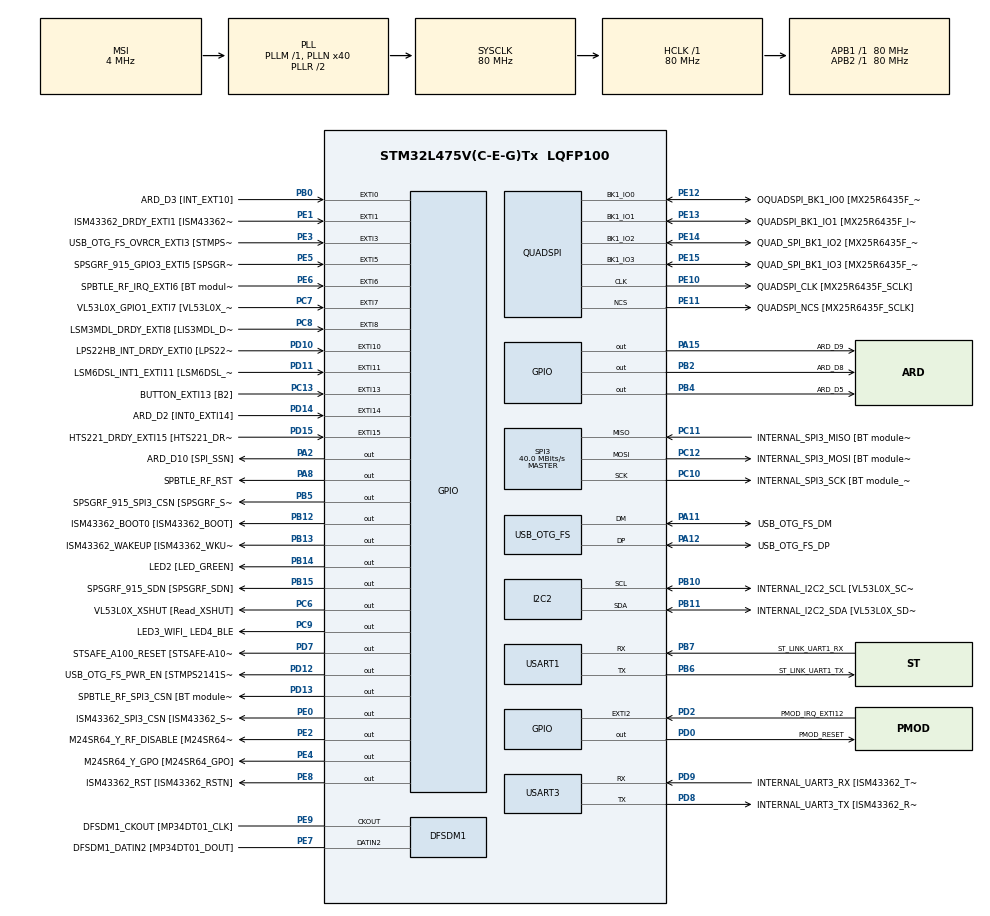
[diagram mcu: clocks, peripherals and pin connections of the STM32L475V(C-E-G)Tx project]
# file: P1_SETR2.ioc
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Mcu.Family=STM32L4
Mcu.Name=STM32L475V(C-E-G)Tx
Mcu.Package=LQFP100
NVIC.EXTI15_10_IRQn=true\:0\:0\:false\:false\:true\:true\:true\:true
NVIC.EXTI9_5_IRQn=true\:0\:0\:false\:false\:true\:true\:true\:true
NVIC.PriorityGroup=NVIC_PRIORITYGROUP_4
PA0.GPIO_Label=ARD_D1 [UART4_TX]
PA0.Signal=UART4_TX
PA1.GPIO_Label=ARD_D0 [UART4_RX]
PA1.Signal=UART4_RX
PA10.GPIO_Label=USB_OTG_FS_ID
PA10.Signal=USB_OTG_FS_ID
PA11.GPIO_Label=USB_OTG_FS_DM
PA11.Mode=Device_Only
PA11.Signal=USB_OTG_FS_DM
PA12.GPIO_Label=USB_OTG_FS_DP
PA12.Mode=Device_Only
PA12.Signal=USB_OTG_FS_DP
PA13\ (JTMS-SWDIO).GPIO_Label=SYS_JTMS_SWDIO
PA13\ (JTMS-SWDIO).Mode=Serial_Wire
PA13\ (JTMS-SWDIO).Signal=SYS_JTMS-SWDIO
PA14\ (JTCK-SWCLK).GPIO_Label=SYS_JTCK_SWCLK
PA14\ (JTCK-SWCLK).Mode=Serial_Wire
PA14\ (JTCK-SWCLK).Signal=SYS_JTCK-SWCLK
PA15\ (JTDI).GPIO_Label=ARD_D9
PA15\ (JTDI).Signal=GPIO_Output
PA2.GPIO_Label=ARD_D10 [SPI_SSN]
PA2.Signal=GPIO_Output
PA3.GPIO_Label=ARD_D4
PA3.Signal=S_TIM2_CH4
PA4.GPIO_Label=ARD_D7
PA4.Signal=ADCx_IN9
PA5.GPIO_Label=ARD_D13 [SPI1_SCK]
PA5.Signal=SPI1_SCK
PA6.GPIO_Label=ARD_D12 [SPI1_MISO]
PA6.Signal=SPI1_MISO
PA7.GPIO_Label=ARD_D11 [SPI1_MOSI]
PA7.Signal=SPI1_MOSI
PA8.GPIO_Label=SPBTLE_RF_RST
PA8.Signal=GPIO_Output
PA9.GPIO_Label=USB_OTG_FS_VBUS [STMPS2141STR_OUT]
PA9.Signal=USB_OTG_FS_VBUS
PB0.GPIO_Label=ARD_D3 [INT_EXT10]
PB0.Signal=GPXTI0
PB1.GPIO_Label=ARD_D6 [ADC1_IN6]
PB1.Signal=ADCx_IN16
PB10.GPIO_Label=INTERNAL_I2C2_SCL [VL53L0X_SCL]
PB10.GPIO_Pu=GPIO_PULLUP
PB10.Mode=I2C
PB10.Signal=I2C2_SCL
PB11.GPIO_Label=INTERNAL_I2C2_SDA [VL53L0X_SDA]
PB11.GPIO_Pu=GPIO_PULLUP
PB11.Mode=I2C
PB11.Signal=I2C2_SDA
PB12.GPIO_Label=ISM43362_BOOT0 [ISM43362_BOOT]
PB12.Signal=GPIO_Output
PB13.GPIO_Label=ISM43362_WAKEUP [ISM43362_WKUP]
PB13.Signal=GPIO_Output
PB14.GPIO_Label=LED2 [LED_GREEN]
PB14.Signal=GPIO_Output
PB15.GPIO_Label=SPSGRF_915_SDN [SPSGRF_SDN]
PB15.Signal=GPIO_Output
PB2.GPIO_Label=ARD_D8
PB2.Signal=GPIO_Output
PB3\ (JTDO-TRACESWO).GPIO_Label=SYS_JTD0_SWO
PB3\ (JTDO-TRACESWO).Signal=SYS_JTDO-SWO
PB4\ (NJTRST).GPIO_Label=ARD_D5
PB4\ (NJTRST).Signal=GPIO_Output
PB5.GPIO_Label=SPSGRF_915_SPI3_CSN [SPSGRF_SPI_CS]
PB5.PinState=GPIO_PIN_SET
PB5.Signal=GPIO_Output
PB6.GPIO_Label=ST_LINK_UART1_TX
PB6.Mode=Asynchronous
PB6.Signal=USART1_TX
PB7.GPIO_Label=ST_LINK_UART1_RX
PB7.Mode=Asynchronous
PB7.Signal=USART1_RX
PB8.GPIO_Label=ARD_D15 [I2C1_SCL]
PB8.Signal=I2C1_SCL
PB9.GPIO_Label=ARD_D14 [I2C1_SDA]
PB9.Signal=I2C1_SDA
PC0.GPIO_Label=ARD_A5 [ADC]
PC0.Signal=ADCx_IN1
PC1.GPIO_Label=ARD_A4 [ADC]
PC1.Signal=ADCx_IN2
PC10.GPIO_Label=INTERNAL_SPI3_SCK [BT module_SPI_SCLK] [ISM43362_SCK]
PC10.Mode=Full_Duplex_Master
PC10.Signal=SPI3_SCK
PC11.GPIO_Label=INTERNAL_SPI3_MISO [BT module_SPI_MISO] [ISM43362_MISO]
PC11.Mode=Full_Duplex_Master
PC11.Signal=SPI3_MISO
PC12.GPIO_Label=INTERNAL_SPI3_MOSI [BT module_SPI_MOSI] [ISM43362_MOSI]
PC12.Mode=Full_Duplex_Master
PC12.Signal=SPI3_MOSI
PC13.GPIO_Label=BUTTON_EXTI13 [B2]
PC13.GPIO_ModeDefaultEXTI=GPIO_MODE_IT_FALLING
PC13.Signal=GPXTI13
PC14-OSC32_IN\ (PC14).Mode=LSE-External-Oscillator
PC14-OSC32_IN\ (PC14).Signal=RCC_OSC32_IN
PC15-OSC32_OUT\ (PC15).Mode=LSE-External-Oscillator
PC15-OSC32_OUT\ (PC15).Signal=RCC_OSC32_OUT
PC2.GPIO_Label=ARD_A3 [ADC]
PC2.Signal=ADCx_IN3
PC3.GPIO_Label=ARD_A2 [ADC]
PC3.Signal=ADCx_IN4
PC4.GPIO_Label=ARD_A1 [ADC]
PC4.Signal=ADCx_IN13
PC5.GPIO_Label=ARD_A0 [ADC]
PC5.Signal=ADCx_IN14
PC6.GPIO_Label=VL53L0X_XSHUT [Read_XSHUT]
PC6.Signal=GPIO_Output
PC7.GPIO_Label=VL53L0X_GPIO1_EXTI7 [VL53L0X_GPIO1]
PC7.Signal=GPXTI7
PC8.GPIO_Label=LSM3MDL_DRDY_EXTI8 [LIS3MDL_DRDY]
PC8.Signal=GPXTI8
PC9.GPIO_Label=LED3_WIFI_ LED4_BLE
PC9.Signal=GPIO_Output
PD0.GPIO_Label=PMOD_RESET
PD0.Signal=GPIO_Output
PD1.GPIO_Label=PMOD_SPI2_SCK
PD1.Signal=SPI2_SCK
PD10.GPIO_Label=LPS22HB_INT_DRDY_EXTI0 [LPS22HB_INT_DRDY] 
PD10.Signal=GPXTI10
PD11.GPIO_Label=LSM6DSL_INT1_EXTI11 [LSM6DSL_INT1]
PD11.Signal=GPXTI11
PD12.GPIO_Label=USB_OTG_FS_PWR_EN [STMPS2141STR_EN]
PD12.Signal=GPIO_Output
PD13.GPIO_Label=SPBTLE_RF_SPI3_CSN [BT module_SPI_CS]
PD13.PinState=GPIO_PIN_SET
PD13.Signal=GPIO_Output
PD14.GPIO_Label=ARD_D2 [INT0_EXTI14]
PD14.Signal=GPXTI14
PD15.GPIO_Label=HTS221_DRDY_EXTI15 [HTS221_DRDY]
PD15.Signal=GPXTI15
PD2.GPIO_Label=PMOD_IRQ_EXTI12
PD2.Signal=GPXTI2
PD3.GPIO_Label=PMOD_UART2_CTS
PD3.Signal=USART2_CTS
PD4.GPIO_Label=PMOD_UART2_RTS
PD4.Signal=USART2_RTS
PD5.GPIO_Label=PMOD_UART2_TX
PD5.Signal=USART2_TX
PD6.GPIO_Label=PMOD_UART2_RX
PD6.Signal=USART2_RX
PD7.GPIO_Label=STSAFE_A100_RESET [STSAFE-A100_RESET]
PD7.Signal=GPIO_Output
PD8.GPIO_Label=INTERNAL_UART3_TX [ISM43362_RX]
PD8.Mode=Asynchronous
PD8.Signal=USART3_TX
PD9.GPIO_Label=INTERNAL_UART3_RX [ISM43362_TX]
PD9.Mode=Asynchronous
PD9.Signal=USART3_RX
PE0.GPIO_Label=ISM43362_SPI3_CSN [ISM43362_SSN]
PE0.PinState=GPIO_PIN_SET
PE0.Signal=GPIO_Output
PE1.GPIO_Label=ISM43362_DRDY_EXTI1 [ISM43362_DATARDY]
PE1.Signal=GPXTI1
PE10.GPIO_Label=QUADSPI_CLK [MX25R6435F_SCLK]
PE10.Mode=Single Bank
PE10.Signal=QUADSPI_CLK
PE11.GPIO_Label=QUADSPI_NCS [MX25R6435F_SCLK]
PE11.Mode=Single Bank
PE11.Signal=QUADSPI_NCS
PE12.GPIO_Label=OQUADSPI_BK1_IO0 [MX25R6435F_IO0]
PE12.Mode=Single Bank
PE12.Signal=QUADSPI_BK1_IO0
PE13.GPIO_Label=QUADSPI_BK1_IO1 [MX25R6435F_IO1]
PE13.Mode=Single Bank
PE13.Signal=QUADSPI_BK1_IO1
PE14.GPIO_Label=QUAD_SPI_BK1_IO2 [MX25R6435F_IO2]
PE14.Mode=Single Bank
PE14.Signal=QUADSPI_BK1_IO2
PE15.GPIO_Label=QUAD_SPI_BK1_IO3 [MX25R6435F_IO3]
PE15.Mode=Single Bank
PE15.Signal=QUADSPI_BK1_IO3
PE2.GPIO_Label=M24SR64_Y_RF_DISABLE [M24SR64_RFDIS]
PE2.Signal=GPIO_Output
PE3.GPIO_Label=USB_OTG_FS_OVRCR_EXTI3 [STMPS2141STR_FAULT]
PE3.Signal=GPXTI3
PE4.GPIO_Label=M24SR64_Y_GPO [M24SR64_GPO]
PE4.Signal=GPIO_Output
PE5.GPIO_Label=SPSGRF_915_GPIO3_EXTI5 [SPSGRF_GPIO_3]
PE5.Signal=GPXTI5
PE6.GPIO_Label=SPBTLE_RF_IRQ_EXTI6 [BT module_SPI_IRQ]
PE6.Signal=GPXTI6
PE7.GPIO_Label=DFSDM1_DATIN2 [MP34DT01_DOUT]
PE7.Signal=S_DATAIN2DFSDM1
PE8.GPIO_Label=ISM43362_RST [ISM43362_RSTN]
PE8.Signal=GPIO_Output
PE9.GPIO_Label=DFSDM1_CKOUT [MP34DT01_CLK]
PE9.Signal=S_CKOUTDFSDM1
ProjectManager.HeapSize=0x200
ProjectManager.StackSize=0x400
ProjectManager.TargetToolchain=STM32CubeIDE
QUADSPI.ClockPrescaler=2
QUADSPI.FifoThreshold=4
QUADSPI.FlashSize=23
QUADSPI.SampleShifting=QSPI_SAMPLE_SHIFTING_HALFCYCLE
RCC.ADCFreq_Value=48000000
RCC.AHBFreq_Value=80000000
RCC.APB1Freq_Value=80000000
RCC.APB1TimFreq_Value=80000000
RCC.APB2Freq_Value=80000000
RCC.APB2TimFreq_Value=80000000
RCC.CortexFreq_Value=80000000
RCC.HCLKFreq_Value=80000000
RCC.HSE_VALUE=8000000
RCC.HSI_VALUE=16000000
RCC.MSI_VALUE=4000000
RCC.PLLN=40
RCC.PLLSAI1N=24
RCC.SYSCLKFreq_VALUE=80000000
RCC.SYSCLKSource=RCC_SYSCLKSOURCE_PLLCLK
RCC.USBFreq_Value=48000000
RCC.VCOOutputFreq_Value=160000000
SH.ADCx_IN1.0=ADC1_IN1
SH.ADCx_IN13.0=ADC1_IN13
SH.ADCx_IN14.0=ADC1_IN14
SH.ADCx_IN16.0=ADC1_IN16
SH.ADCx_IN2.0=ADC1_IN2
SH.ADCx_IN3.0=ADC1_IN3
SH.ADCx_IN4.0=ADC1_IN4
SH.ADCx_IN9.0=ADC1_IN9
SH.S_CKOUTDFSDM1.0=DFSDM1_CKOUT,CKOUT
SH.S_CKOUTDFSDM1.1=DFSDM1_CKOUT,PDM_SPI_Input_from_ch12_and_Internal_Clock
SH.S_DATAIN2DFSDM1.0=DFSDM1_DATIN2,PDM_SPI_Input_from_ch12_and_Internal_Clock
SH.S_TIM2_CH4.0=TIM2_CH4
SPI3.CalculateBaudRate=40.0 MBits/s
SPI3.Direction=SPI_DIRECTION_2LINES
SPI3.Mode=SPI_MODE_MASTER
SPI3.VirtualType=VM_MASTER
USART1.VirtualMode-Asynchronous=VM_ASYNC
USART3.VirtualMode-Asynchronous=VM_ASYNC
USB_OTG_FS.VirtualMode=Device_Only
board=B-L475E-IOT01A2

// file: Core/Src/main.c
/* USER CODE BEGIN Header */
/**
  ******************************************************************************
  * @file           : main.c
  * @brief          : Main program body
  ******************************************************************************
  * @attention
  *
  * Copyright (c) 2025 STMicroelectronics.
  * All rights reserved.
  *
  * This software is licensed under terms that can be found in the LICENSE file
  * in the root directory of this software component.
  * If no LICENSE file comes with this software, it is provided AS-IS.
  *
  ******************************************************************************
  */
/* USER CODE END Header */
#include "main.h"

/* USER CODE BEGIN Includes */
#include "led_driver.h"
#include "joystick_driver.h"
/* USER CODE END Includes */

DFSDM_Channel_HandleTypeDef hdfsdm1_channel1;

I2C_HandleTypeDef hi2c2;

QSPI_HandleTypeDef hqspi;

SPI_HandleTypeDef hspi3;

UART_HandleTypeDef huart1;
UART_HandleTypeDef huart3;

PCD_HandleTypeDef hpcd_USB_OTG_FS;

void SystemClock_Config(void);
static void MX_GPIO_Init(void);
static void MX_DFSDM1_Init(void);
static void MX_I2C2_Init(void);
static void MX_QUADSPI_Init(void);
static void MX_SPI3_Init(void);
static void MX_USART1_UART_Init(void);
static void MX_USART3_UART_Init(void);
static void MX_USB_OTG_FS_PCD_Init(void);

/* USER CODE BEGIN 0 */
void animation1(void){
    int i;
    for(i = 0; i < 3; i++){
        LED_On(i);
        HAL_Delay(150);
        LED_Off(i);
    }
    for(i = 1; i > 0; i--){
        LED_On(i);
        HAL_Delay(150);
        LED_Off(i);
    }
}

void animation2(void){
    int i, j;
    for(j = 0; j < 5; j++){
        for(i = 0; i < 3; i++)
            LED_On(i);
        HAL_Delay(100);
        for(i = 0; i < 3; i++)
            LED_Off(i);
        HAL_Delay(100);
    }
}

void animation3(void){
    int i;
    for(i = 0; i < 3; i++){
        LED_On(i);
        HAL_Delay(150);
    }
    for(i = 2; i >= 0; i--){
        LED_Off(i);
        HAL_Delay(150);
    }
}

/* USER CODE END 0 */

int main(void)
{

  /* MCU Configuration--------------------------------------------------------*/

  /* Reset of all peripherals, Initializes the Flash interface and the Systick. */
  HAL_Init();

  /* Configure the system clock */
  SystemClock_Config();

  /* Initialize all configured peripherals */
  MX_GPIO_Init();
  MX_DFSDM1_Init();
  MX_I2C2_Init();
  MX_QUADSPI_Init();
  MX_SPI3_Init();
  MX_USART1_UART_Init();
  MX_USART3_UART_Init();
  MX_USB_OTG_FS_PCD_Init();

  /* Infinite loop */
  /* USER CODE BEGIN WHILE */
  while (1)
  {
	switch(ReadJoy())
	{
	case 0:
		// stand-by
		LED_Off(0);
		LED_Off(1);
		LED_Off(2);
		break;
	case 1:
		animation1();
		break;
	case 2:
		animation2();
		break;
	case 3:
		animation3();
		break;
	}
    /* USER CODE END WHILE */

  }
}

void SystemClock_Config(void)
{
  RCC_OscInitTypeDef RCC_OscInitStruct = {0};
  RCC_ClkInitTypeDef RCC_ClkInitStruct = {0};

  /** Configure the main internal regulator output voltage
  */
  if (HAL_PWREx_ControlVoltageScaling(PWR_REGULATOR_VOLTAGE_SCALE1) != HAL_OK)
  {
    Error_Handler();
  }

  /** Configure LSE Drive Capability
  */
  HAL_PWR_EnableBkUpAccess();
  __HAL_RCC_LSEDRIVE_CONFIG(RCC_LSEDRIVE_LOW);

  /** Initializes the RCC Oscillators according to the specified parameters
  * in the RCC_OscInitTypeDef structure.
  */
  RCC_OscInitStruct.OscillatorType = RCC_OSCILLATORTYPE_LSE|RCC_OSCILLATORTYPE_MSI;
  RCC_OscInitStruct.LSEState = RCC_LSE_ON;
  RCC_OscInitStruct.MSIState = RCC_MSI_ON;
  RCC_OscInitStruct.MSICalibrationValue = 0;
  RCC_OscInitStruct.MSIClockRange = RCC_MSIRANGE_6;
  RCC_OscInitStruct.PLL.PLLState = RCC_PLL_ON;
  RCC_OscInitStruct.PLL.PLLSource = RCC_PLLSOURCE_MSI;
  RCC_OscInitStruct.PLL.PLLM = 1;
  RCC_OscInitStruct.PLL.PLLN = 40;
  RCC_OscInitStruct.PLL.PLLP = RCC_PLLP_DIV7;
  RCC_OscInitStruct.PLL.PLLQ = RCC_PLLQ_DIV2;
  RCC_OscInitStruct.PLL.PLLR = RCC_PLLR_DIV2;
  if (HAL_RCC_OscConfig(&RCC_OscInitStruct) != HAL_OK)
  {
    Error_Handler();
  }

  /** Initializes the CPU, AHB and APB buses clocks
  */
  RCC_ClkInitStruct.ClockType = RCC_CLOCKTYPE_HCLK|RCC_CLOCKTYPE_SYSCLK
                              |RCC_CLOCKTYPE_PCLK1|RCC_CLOCKTYPE_PCLK2;
  RCC_ClkInitStruct.SYSCLKSource = RCC_SYSCLKSOURCE_PLLCLK;
  RCC_ClkInitStruct.AHBCLKDivider = RCC_SYSCLK_DIV1;
  RCC_ClkInitStruct.APB1CLKDivider = RCC_HCLK_DIV1;
  RCC_ClkInitStruct.APB2CLKDivider = RCC_HCLK_DIV1;

  if (HAL_RCC_ClockConfig(&RCC_ClkInitStruct, FLASH_LATENCY_4) != HAL_OK)
  {
    Error_Handler();
  }

  /** Enable MSI Auto calibration
  */
  HAL_RCCEx_EnableMSIPLLMode();
}

static void MX_DFSDM1_Init(void)
{

  hdfsdm1_channel1.Instance = DFSDM1_Channel1;
  hdfsdm1_channel1.Init.OutputClock.Activation = ENABLE;
  hdfsdm1_channel1.Init.OutputClock.Selection = DFSDM_CHANNEL_OUTPUT_CLOCK_SYSTEM;
  hdfsdm1_channel1.Init.OutputClock.Divider = 2;
  hdfsdm1_channel1.Init.Input.Multiplexer = DFSDM_CHANNEL_EXTERNAL_INPUTS;
  hdfsdm1_channel1.Init.Input.DataPacking = DFSDM_CHANNEL_STANDARD_MODE;
  hdfsdm1_channel1.Init.Input.Pins = DFSDM_CHANNEL_FOLLOWING_CHANNEL_PINS;
  hdfsdm1_channel1.Init.SerialInterface.Type = DFSDM_CHANNEL_SPI_RISING;
  hdfsdm1_channel1.Init.SerialInterface.SpiClock = DFSDM_CHANNEL_SPI_CLOCK_INTERNAL;
  hdfsdm1_channel1.Init.Awd.FilterOrder = DFSDM_CHANNEL_FASTSINC_ORDER;
  hdfsdm1_channel1.Init.Awd.Oversampling = 1;
  hdfsdm1_channel1.Init.Offset = 0;
  hdfsdm1_channel1.Init.RightBitShift = 0x00;
  if (HAL_DFSDM_ChannelInit(&hdfsdm1_channel1) != HAL_OK)
  {
    Error_Handler();
  }

}

static void MX_I2C2_Init(void)
{

  hi2c2.Instance = I2C2;
  hi2c2.Init.Timing = 0x00000E14;
  hi2c2.Init.OwnAddress1 = 0;
  hi2c2.Init.AddressingMode = I2C_ADDRESSINGMODE_7BIT;
  hi2c2.Init.DualAddressMode = I2C_DUALADDRESS_DISABLE;
  hi2c2.Init.OwnAddress2 = 0;
  hi2c2.Init.OwnAddress2Masks = I2C_OA2_NOMASK;
  hi2c2.Init.GeneralCallMode = I2C_GENERALCALL_DISABLE;
  hi2c2.Init.NoStretchMode = I2C_NOSTRETCH_DISABLE;
  if (HAL_I2C_Init(&hi2c2) != HAL_OK)
  {
    Error_Handler();
  }

  /** Configure Analogue filter
  */
  if (HAL_I2CEx_ConfigAnalogFilter(&hi2c2, I2C_ANALOGFILTER_ENABLE) != HAL_OK)
  {
    Error_Handler();
  }

  /** Configure Digital filter
  */
  if (HAL_I2CEx_ConfigDigitalFilter(&hi2c2, 0) != HAL_OK)
  {
    Error_Handler();
  }

}

static void MX_QUADSPI_Init(void)
{

  /* QUADSPI parameter configuration*/
  hqspi.Instance = QUADSPI;
  hqspi.Init.ClockPrescaler = 2;
  hqspi.Init.FifoThreshold = 4;
  hqspi.Init.SampleShifting = QSPI_SAMPLE_SHIFTING_HALFCYCLE;
  hqspi.Init.FlashSize = 23;
  hqspi.Init.ChipSelectHighTime = QSPI_CS_HIGH_TIME_1_CYCLE;
  hqspi.Init.ClockMode = QSPI_CLOCK_MODE_0;
  if (HAL_QSPI_Init(&hqspi) != HAL_OK)
  {
    Error_Handler();
  }

}

static void MX_SPI3_Init(void)
{

  /* SPI3 parameter configuration*/
  hspi3.Instance = SPI3;
  hspi3.Init.Mode = SPI_MODE_MASTER;
  hspi3.Init.Direction = SPI_DIRECTION_2LINES;
  hspi3.Init.DataSize = SPI_DATASIZE_4BIT;
  hspi3.Init.CLKPolarity = SPI_POLARITY_LOW;
  hspi3.Init.CLKPhase = SPI_PHASE_1EDGE;
  hspi3.Init.NSS = SPI_NSS_SOFT;
  hspi3.Init.BaudRatePrescaler = SPI_BAUDRATEPRESCALER_2;
  hspi3.Init.FirstBit = SPI_FIRSTBIT_MSB;
  hspi3.Init.TIMode = SPI_TIMODE_DISABLE;
  hspi3.Init.CRCCalculation = SPI_CRCCALCULATION_DISABLE;
  hspi3.Init.CRCPolynomial = 7;
  hspi3.Init.CRCLength = SPI_CRC_LENGTH_DATASIZE;
  hspi3.Init.NSSPMode = SPI_NSS_PULSE_ENABLE;
  if (HAL_SPI_Init(&hspi3) != HAL_OK)
  {
    Error_Handler();
  }

}

static void MX_USART1_UART_Init(void)
{

  huart1.Instance = USART1;
  huart1.Init.BaudRate = 115200;
  huart1.Init.WordLength = UART_WORDLENGTH_8B;
  huart1.Init.StopBits = UART_STOPBITS_1;
  huart1.Init.Parity = UART_PARITY_NONE;
  huart1.Init.Mode = UART_MODE_TX_RX;
  huart1.Init.HwFlowCtl = UART_HWCONTROL_NONE;
  huart1.Init.OverSampling = UART_OVERSAMPLING_16;
  huart1.Init.OneBitSampling = UART_ONE_BIT_SAMPLE_DISABLE;
  huart1.AdvancedInit.AdvFeatureInit = UART_ADVFEATURE_NO_INIT;
  if (HAL_UART_Init(&huart1) != HAL_OK)
  {
    Error_Handler();
  }

}

static void MX_USART3_UART_Init(void)
{

  huart3.Instance = USART3;
  huart3.Init.BaudRate = 115200;
  huart3.Init.WordLength = UART_WORDLENGTH_8B;
  huart3.Init.StopBits = UART_STOPBITS_1;
  huart3.Init.Parity = UART_PARITY_NONE;
  huart3.Init.Mode = UART_MODE_TX_RX;
  huart3.Init.HwFlowCtl = UART_HWCONTROL_NONE;
  huart3.Init.OverSampling = UART_OVERSAMPLING_16;
  huart3.Init.OneBitSampling = UART_ONE_BIT_SAMPLE_DISABLE;
  huart3.AdvancedInit.AdvFeatureInit = UART_ADVFEATURE_NO_INIT;
  if (HAL_UART_Init(&huart3) != HAL_OK)
  {
    Error_Handler();
  }

}

static void MX_USB_OTG_FS_PCD_Init(void)
{

  hpcd_USB_OTG_FS.Instance = USB_OTG_FS;
  hpcd_USB_OTG_FS.Init.dev_endpoints = 6;
  hpcd_USB_OTG_FS.Init.speed = PCD_SPEED_FULL;
  hpcd_USB_OTG_FS.Init.phy_itface = PCD_PHY_EMBEDDED;
  hpcd_USB_OTG_FS.Init.Sof_enable = DISABLE;
  hpcd_USB_OTG_FS.Init.low_power_enable = DISABLE;
  hpcd_USB_OTG_FS.Init.lpm_enable = DISABLE;
  hpcd_USB_OTG_FS.Init.battery_charging_enable = DISABLE;
  hpcd_USB_OTG_FS.Init.use_dedicated_ep1 = DISABLE;
  hpcd_USB_OTG_FS.Init.vbus_sensing_enable = DISABLE;
  if (HAL_PCD_Init(&hpcd_USB_OTG_FS) != HAL_OK)
  {
    Error_Handler();
  }

}

static void MX_GPIO_Init(void)
{
  GPIO_InitTypeDef GPIO_InitStruct = {0};

  /* GPIO Ports Clock Enable */
  __HAL_RCC_GPIOE_CLK_ENABLE();
  __HAL_RCC_GPIOC_CLK_ENABLE();
  __HAL_RCC_GPIOA_CLK_ENABLE();
  __HAL_RCC_GPIOB_CLK_ENABLE();
  __HAL_RCC_GPIOD_CLK_ENABLE();

  /*Configure GPIO pin Output Level */
  HAL_GPIO_WritePin(GPIOE, M24SR64_Y_RF_DISABLE_Pin|M24SR64_Y_GPO_Pin|ISM43362_RST_Pin, GPIO_PIN_RESET);

  /*Configure GPIO pin Output Level */
  HAL_GPIO_WritePin(GPIOA, ARD_D10_Pin|SPBTLE_RF_RST_Pin|ARD_D9_Pin, GPIO_PIN_RESET);

  /*Configure GPIO pin Output Level */
  HAL_GPIO_WritePin(GPIOB, ARD_D8_Pin|ISM43362_BOOT0_Pin|ISM43362_WAKEUP_Pin|LED2_Pin
                          |SPSGRF_915_SDN_Pin|ARD_D5_Pin, GPIO_PIN_RESET);

  /*Configure GPIO pin Output Level */
  HAL_GPIO_WritePin(GPIOD, USB_OTG_FS_PWR_EN_Pin|PMOD_RESET_Pin|STSAFE_A100_RESET_Pin, GPIO_PIN_RESET);

  /*Configure GPIO pin Output Level */
  HAL_GPIO_WritePin(SPBTLE_RF_SPI3_CSN_GPIO_Port, SPBTLE_RF_SPI3_CSN_Pin, GPIO_PIN_SET);

  /*Configure GPIO pin Output Level */
  HAL_GPIO_WritePin(GPIOC, VL53L0X_XSHUT_Pin|LED3_WIFI__LED4_BLE_Pin, GPIO_PIN_RESET);

  /*Configure GPIO pin Output Level */
  HAL_GPIO_WritePin(SPSGRF_915_SPI3_CSN_GPIO_Port, SPSGRF_915_SPI3_CSN_Pin, GPIO_PIN_SET);

  /*Configure GPIO pin Output Level */
  HAL_GPIO_WritePin(ISM43362_SPI3_CSN_GPIO_Port, ISM43362_SPI3_CSN_Pin, GPIO_PIN_SET);

  /*Configure GPIO pins : M24SR64_Y_RF_DISABLE_Pin M24SR64_Y_GPO_Pin ISM43362_RST_Pin ISM43362_SPI3_CSN_Pin */
  GPIO_InitStruct.Pin = M24SR64_Y_RF_DISABLE_Pin|M24SR64_Y_GPO_Pin|ISM43362_RST_Pin|ISM43362_SPI3_CSN_Pin;
  GPIO_InitStruct.Mode = GPIO_MODE_OUTPUT_PP;
  GPIO_InitStruct.Pull = GPIO_NOPULL;
  GPIO_InitStruct.Speed = GPIO_SPEED_FREQ_LOW;
  HAL_GPIO_Init(GPIOE, &GPIO_InitStruct);

  /*Configure GPIO pins : USB_OTG_FS_OVRCR_EXTI3_Pin SPSGRF_915_GPIO3_EXTI5_Pin SPBTLE_RF_IRQ_EXTI6_Pin ISM43362_DRDY_EXTI1_Pin */
  GPIO_InitStruct.Pin = USB_OTG_FS_OVRCR_EXTI3_Pin|SPSGRF_915_GPIO3_EXTI5_Pin|SPBTLE_RF_IRQ_EXTI6_Pin|ISM43362_DRDY_EXTI1_Pin;
  GPIO_InitStruct.Mode = GPIO_MODE_IT_RISING;
  GPIO_InitStruct.Pull = GPIO_NOPULL;
  HAL_GPIO_Init(GPIOE, &GPIO_InitStruct);

  /*Configure GPIO pin : BUTTON_EXTI13_Pin */
  GPIO_InitStruct.Pin = BUTTON_EXTI13_Pin;
  GPIO_InitStruct.Mode = GPIO_MODE_IT_FALLING;
  GPIO_InitStruct.Pull = GPIO_NOPULL;
  HAL_GPIO_Init(BUTTON_EXTI13_GPIO_Port, &GPIO_InitStruct);

  /*Configure GPIO pins : ARD_A5_Pin ARD_A4_Pin ARD_A3_Pin ARD_A2_Pin
                           ARD_A1_Pin ARD_A0_Pin */
  GPIO_InitStruct.Pin = ARD_A5_Pin|ARD_A4_Pin|ARD_A3_Pin|ARD_A2_Pin
                          |ARD_A1_Pin|ARD_A0_Pin;
  GPIO_InitStruct.Mode = GPIO_MODE_ANALOG_ADC_CONTROL;
  GPIO_InitStruct.Pull = GPIO_NOPULL;
  HAL_GPIO_Init(GPIOC, &GPIO_InitStruct);

  /*Configure GPIO pins : ARD_D1_Pin ARD_D0_Pin */
  GPIO_InitStruct.Pin = ARD_D1_Pin|ARD_D0_Pin;
  GPIO_InitStruct.Mode = GPIO_MODE_AF_PP;
  GPIO_InitStruct.Pull = GPIO_NOPULL;
  GPIO_InitStruct.Speed = GPIO_SPEED_FREQ_VERY_HIGH;
  GPIO_InitStruct.Alternate = GPIO_AF8_UART4;
  HAL_GPIO_Init(GPIOA, &GPIO_InitStruct);

  /*Configure GPIO pins : ARD_D10_Pin SPBTLE_RF_RST_Pin ARD_D9_Pin */
  GPIO_InitStruct.Pin = ARD_D10_Pin|SPBTLE_RF_RST_Pin|ARD_D9_Pin;
  GPIO_InitStruct.Mode = GPIO_MODE_OUTPUT_PP;
  GPIO_InitStruct.Pull = GPIO_NOPULL;
  GPIO_InitStruct.Speed = GPIO_SPEED_FREQ_LOW;
  HAL_GPIO_Init(GPIOA, &GPIO_InitStruct);

  /*Configure GPIO pin : ARD_D4_Pin */
  GPIO_InitStruct.Pin = ARD_D4_Pin;
  GPIO_InitStruct.Mode = GPIO_MODE_AF_PP;
  GPIO_InitStruct.Pull = GPIO_NOPULL;
  GPIO_InitStruct.Speed = GPIO_SPEED_FREQ_LOW;
  GPIO_InitStruct.Alternate = GPIO_AF1_TIM2;
  HAL_GPIO_Init(ARD_D4_GPIO_Port, &GPIO_InitStruct);

  /*Configure GPIO pin : ARD_D7_Pin */
  GPIO_InitStruct.Pin = ARD_D7_Pin;
  GPIO_InitStruct.Mode = GPIO_MODE_ANALOG_ADC_CONTROL;
  GPIO_InitStruct.Pull = GPIO_NOPULL;
  HAL_GPIO_Init(ARD_D7_GPIO_Port, &GPIO_InitStruct);

  /*Configure GPIO pins : ARD_D13_Pin ARD_D12_Pin ARD_D11_Pin */
  GPIO_InitStruct.Pin = ARD_D13_Pin|ARD_D12_Pin|ARD_D11_Pin;
  GPIO_InitStruct.Mode = GPIO_MODE_AF_PP;
  GPIO_InitStruct.Pull = GPIO_NOPULL;
  GPIO_InitStruct.Speed = GPIO_SPEED_FREQ_VERY_HIGH;
  GPIO_InitStruct.Alternate = GPIO_AF5_SPI1;
  HAL_GPIO_Init(GPIOA, &GPIO_InitStruct);

  /*Configure GPIO pin : ARD_D3_Pin */
  GPIO_InitStruct.Pin = ARD_D3_Pin;
  GPIO_InitStruct.Mode = GPIO_MODE_IT_RISING;
  GPIO_InitStruct.Pull = GPIO_NOPULL;
  HAL_GPIO_Init(ARD_D3_GPIO_Port, &GPIO_InitStruct);

  /*Configure GPIO pin : ARD_D6_Pin */
  GPIO_InitStruct.Pin = ARD_D6_Pin;
  GPIO_InitStruct.Mode = GPIO_MODE_ANALOG_ADC_CONTROL;
  GPIO_InitStruct.Pull = GPIO_NOPULL;
  HAL_GPIO_Init(ARD_D6_GPIO_Port, &GPIO_InitStruct);

  /*Configure GPIO pins : ARD_D8_Pin ISM43362_BOOT0_Pin ISM43362_WAKEUP_Pin LED2_Pin
                           SPSGRF_915_SDN_Pin ARD_D5_Pin SPSGRF_915_SPI3_CSN_Pin */
  GPIO_InitStruct.Pin = ARD_D8_Pin|ISM43362_BOOT0_Pin|ISM43362_WAKEUP_Pin|LED2_Pin
                          |SPSGRF_915_SDN_Pin|ARD_D5_Pin|SPSGRF_915_SPI3_CSN_Pin;
  GPIO_InitStruct.Mode = GPIO_MODE_OUTPUT_PP;
  GPIO_InitStruct.Pull = GPIO_NOPULL;
  GPIO_InitStruct.Speed = GPIO_SPEED_FREQ_LOW;
  HAL_GPIO_Init(GPIOB, &GPIO_InitStruct);

  /*Configure GPIO pins : LPS22HB_INT_DRDY_EXTI0_Pin LSM6DSL_INT1_EXTI11_Pin ARD_D2_Pin HTS221_DRDY_EXTI15_Pin
                           PMOD_IRQ_EXTI12_Pin */
  GPIO_InitStruct.Pin = LPS22HB_INT_DRDY_EXTI0_Pin|LSM6DSL_INT1_EXTI11_Pin|ARD_D2_Pin|HTS221_DRDY_EXTI15_Pin
                          |PMOD_IRQ_EXTI12_Pin;
  GPIO_InitStruct.Mode = GPIO_MODE_IT_RISING;
  GPIO_InitStruct.Pull = GPIO_NOPULL;
  HAL_GPIO_Init(GPIOD, &GPIO_InitStruct);

  /*Configure GPIO pins : USB_OTG_FS_PWR_EN_Pin SPBTLE_RF_SPI3_CSN_Pin PMOD_RESET_Pin STSAFE_A100_RESET_Pin */
  GPIO_InitStruct.Pin = USB_OTG_FS_PWR_EN_Pin|SPBTLE_RF_SPI3_CSN_Pin|PMOD_RESET_Pin|STSAFE_A100_RESET_Pin;
  GPIO_InitStruct.Mode = GPIO_MODE_OUTPUT_PP;
  GPIO_InitStruct.Pull = GPIO_NOPULL;
  GPIO_InitStruct.Speed = GPIO_SPEED_FREQ_LOW;
  HAL_GPIO_Init(GPIOD, &GPIO_InitStruct);

  /*Configure GPIO pins : VL53L0X_XSHUT_Pin LED3_WIFI__LED4_BLE_Pin */
  GPIO_InitStruct.Pin = VL53L0X_XSHUT_Pin|LED3_WIFI__LED4_BLE_Pin;
  GPIO_InitStruct.Mode = GPIO_MODE_OUTPUT_PP;
  GPIO_InitStruct.Pull = GPIO_NOPULL;
  GPIO_InitStruct.Speed = GPIO_SPEED_FREQ_LOW;
  HAL_GPIO_Init(GPIOC, &GPIO_InitStruct);

  /*Configure GPIO pins : VL53L0X_GPIO1_EXTI7_Pin LSM3MDL_DRDY_EXTI8_Pin */
  GPIO_InitStruct.Pin = VL53L0X_GPIO1_EXTI7_Pin|LSM3MDL_DRDY_EXTI8_Pin;
  GPIO_InitStruct.Mode = GPIO_MODE_IT_RISING;
  GPIO_InitStruct.Pull = GPIO_NOPULL;
  HAL_GPIO_Init(GPIOC, &GPIO_InitStruct);

  /*Configure GPIO pin : PMOD_SPI2_SCK_Pin */
  GPIO_InitStruct.Pin = PMOD_SPI2_SCK_Pin;
  GPIO_InitStruct.Mode = GPIO_MODE_AF_PP;
  GPIO_InitStruct.Pull = GPIO_NOPULL;
  GPIO_InitStruct.Speed = GPIO_SPEED_FREQ_VERY_HIGH;
  GPIO_InitStruct.Alternate = GPIO_AF5_SPI2;
  HAL_GPIO_Init(PMOD_SPI2_SCK_GPIO_Port, &GPIO_InitStruct);

  /*Configure GPIO pins : PMOD_UART2_CTS_Pin PMOD_UART2_RTS_Pin PMOD_UART2_TX_Pin PMOD_UART2_RX_Pin */
  GPIO_InitStruct.Pin = PMOD_UART2_CTS_Pin|PMOD_UART2_RTS_Pin|PMOD_UART2_TX_Pin|PMOD_UART2_RX_Pin;
  GPIO_InitStruct.Mode = GPIO_MODE_AF_PP;
  GPIO_InitStruct.Pull = GPIO_NOPULL;
  GPIO_InitStruct.Speed = GPIO_SPEED_FREQ_VERY_HIGH;
  GPIO_InitStruct.Alternate = GPIO_AF7_USART2;
  HAL_GPIO_Init(GPIOD, &GPIO_InitStruct);

  /*Configure GPIO pins : ARD_D15_Pin ARD_D14_Pin */
  GPIO_InitStruct.Pin = ARD_D15_Pin|ARD_D14_Pin;
  GPIO_InitStruct.Mode = GPIO_MODE_AF_OD;
  GPIO_InitStruct.Pull = GPIO_NOPULL;
  GPIO_InitStruct.Speed = GPIO_SPEED_FREQ_VERY_HIGH;
  GPIO_InitStruct.Alternate = GPIO_AF4_I2C1;
  HAL_GPIO_Init(GPIOB, &GPIO_InitStruct);

  /* EXTI interrupt init*/
  HAL_NVIC_SetPriority(EXTI9_5_IRQn, 0, 0);
  HAL_NVIC_EnableIRQ(EXTI9_5_IRQn);

  HAL_NVIC_SetPriority(EXTI15_10_IRQn, 0, 0);
  HAL_NVIC_EnableIRQ(EXTI15_10_IRQn);

}

void Error_Handler(void)
{
  __disable_irq();
  while (1)
  {
  }
}
